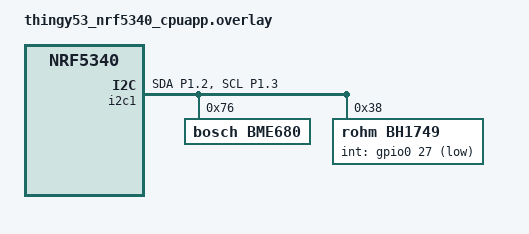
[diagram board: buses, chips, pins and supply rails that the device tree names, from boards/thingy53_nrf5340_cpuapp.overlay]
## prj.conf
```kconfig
#
# Copyright (c) 2020 Nordic Semiconductor ASA
#
# SPDX-License-Identifier: LicenseRef-Nordic-5-Clause
#
CONFIG_NCS_SAMPLES_DEFAULTS=y

# Deffered logging helps improve LPN power consumption
# when friendship is established.
CONFIG_LOG_MODE_DEFERRED=y

# General configuration
CONFIG_SYSTEM_WORKQUEUE_STACK_SIZE=2048
CONFIG_FLASH=y
CONFIG_FLASH_MAP=y
CONFIG_NVS=y
CONFIG_NVS_LOOKUP_CACHE=y
CONFIG_SETTINGS=y
CONFIG_SETTINGS_NVS_NAME_CACHE=y
CONFIG_HWINFO=y
CONFIG_DK_LIBRARY=y
CONFIG_PM_SINGLE_IMAGE=y
CONFIG_PM_PARTITION_SIZE_SETTINGS_STORAGE=0x8000
CONFIG_SOC_FLASH_NRF_PARTIAL_ERASE=y
CONFIG_FPU=y
CONFIG_CBPRINTF_FP_SUPPORT=y

# Temperature sensor
CONFIG_SENSOR=y
CONFIG_TEMP_NRF5=y

# Bluetooth configuration
CONFIG_BT=y
CONFIG_BT_DEVICE_NAME="Mesh Sensor"
CONFIG_BT_L2CAP_TX_BUF_COUNT=8
CONFIG_BT_OBSERVER=y
CONFIG_BT_PERIPHERAL=y
CONFIG_BT_SETTINGS=y

# Disable unused Bluetooth features
CONFIG_BT_CTLR_LE_ENC=n
CONFIG_BT_PHY_UPDATE=n
CONFIG_BT_CTLR_CHAN_SEL_2=n
CONFIG_BT_CTLR_MIN_USED_CHAN=n
CONFIG_BT_CTLR_PRIVACY=n

# Bluetooth Mesh configuration
CONFIG_BT_MESH=y
CONFIG_BT_MESH_RELAY=y
CONFIG_BT_MESH_FRIEND=y
CONFIG_BT_MESH_TX_SEG_MAX=10
CONFIG_BT_MESH_PB_GATT=y
CONFIG_BT_MESH_GATT_PROXY=y
CONFIG_BT_MESH_PROXY_USE_DEVICE_NAME=y
CONFIG_BT_MESH_DK_PROV=y
CONFIG_BT_MESH_NLC_PERF_CONF=y
CONFIG_BT_MESH_MODEL_EXTENSIONS=y
CONFIG_BT_MESH_MODEL_EXTENSION_LIST_SIZE=6
# Enabling BT_MESH_NLC_PERF_CONF enables support for 3 application keys by
# default. Therefore, allow up to 3 application key bindings per model instance.
CONFIG_BT_MESH_MODEL_KEY_COUNT=3

# Bluetooth Mesh models
CONFIG_BT_MESH_SENSOR_SRV=y
CONFIG_BT_MESH_SENSOR_SRV_SENSORS_MAX=5
CONFIG_BT_MESH_SENSOR_USE_LEGACY_SENSOR_VALUE=n

# Debugging
CONFIG_BT_MESH_LOG_LEVEL_DBG=y
CONFIG_BT_MESH_PROVISIONEE_LOG_LEVEL_INF=y
```

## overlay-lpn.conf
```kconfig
CONFIG_BT_MESH_LOW_POWER=y
CONFIG_BT_DEVICE_NAME="Mesh Sensor LPN"
CONFIG_BT_MESH_RELAY=n
CONFIG_BT_MESH_FRIEND=n
CONFIG_BT_EXT_ADV_MAX_ADV_SET=1
CONFIG_BT_MESH_ADV_EXT_FRIEND_SEPARATE=n
CONFIG_BT_MESH_ADV_EXT_GATT_SEPARATE=n

# Power saving configuration:

# Serial communication consumes considerable power
#CONFIG_SERIAL=n
CONFIG_CONSOLE=n
CONFIG_UART_CONSOLE=n
CONFIG_LOG=n

# While enabled, secure beacons will be advertised periodically.
# This consumes power, and is not required for an LPN node.
CONFIG_BT_MESH_BEACON_ENABLED=n

# Each LPN poll event consumes power. Extending the interval between poll events will improve power consumption
CONFIG_BT_MESH_LPN_POLL_TIMEOUT=600

# While GATT proxy is enabled, it will periodically advertise the network id.
# Disabling it will conserve energy.
CONFIG_BT_MESH_GATT_PROXY_ENABLED=n

# Reducing the node id advertisement timeout decreases the period where the device consumes power for advertising.
CONFIG_BT_MESH_NODE_ID_TIMEOUT=30
```

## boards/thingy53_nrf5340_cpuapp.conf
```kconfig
#
# Copyright (c) 2021 Nordic Semiconductor ASA
#
# SPDX-License-Identifier: LicenseRef-Nordic-5-Clause
#
################################################################################
# Application overlay - Thingy:53 DFU

CONFIG_NCS_SAMPLE_MCUMGR_BT_OTA_DFU=y
CONFIG_NCS_SAMPLE_MCUMGR_BT_OTA_DFU_SPEEDUP=y

CONFIG_SYSTEM_WORKQUEUE_STACK_SIZE=4096

# Use deferred logging
CONFIG_NCS_SAMPLES_DEFAULTS=n
CONFIG_LOG=y
CONFIG_ASSERT=y
CONFIG_ASSERT_NO_COND_INFO=y
CONFIG_ASSERT_NO_MSG_INFO=y
CONFIG_HW_STACK_PROTECTION=y

################################################################################
# Sensor configuration

# Enable Temprature Sensor
CONFIG_BME680=y

# Enable Light Sensor
CONFIG_BH1749=y

# Disable nRF5 sensor
CONFIG_TEMP_NRF5=n
```

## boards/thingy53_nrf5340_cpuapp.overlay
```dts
/*
 * Copyright (c) 2021-2022 Nordic Semiconductor ASA
 *
 * SPDX-License-Identifier: LicenseRef-Nordic-5-Clause
 */

i2c1: &i2c1 {
	compatible = "nordic,nrf-twim";
	status = "okay";

	pinctrl-0 = <&i2c1_default_alt_alt>;
	pinctrl-1 = <&i2c1_sleep_alt_alt>;
	pinctrl-names = "default", "sleep";
	bme680: bme680@76 {
		compatible = "bosch,bme680";
		reg = <0x76>;
	};

	
	bh1749: bh1749@38{
		compatible = "rohm,bh1749";
		label = "BH1749";
		reg = <0x38>;
		int-gpios = <&gpio0 27 (GPIO_PULL_UP | GPIO_ACTIVE_LOW)>;
	};
	
};

&pinctrl {
	i2c1_default_alt_alt: i2c1_default_alt_alt {
		group1 {
			psels = <NRF_PSEL(TWIM_SDA, 1, 2)>,
				<NRF_PSEL(TWIM_SCL, 1, 3)>;
		};
	};

	i2c1_sleep_alt_alt: i2c1_sleep_alt_alt {
		group1 {
			psels = <NRF_PSEL(TWIM_SDA, 1, 2)>,
				<NRF_PSEL(TWIM_SCL, 1, 3)>;
			low-power-enable;
		};
	};

};
```

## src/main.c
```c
/*
 * Copyright (c) 2020 Nordic Semiconductor ASA
 *
 * SPDX-License-Identifier: LicenseRef-Nordic-5-Clause
 */

/** @file
 *  @brief Nordic mesh sensor sample
 */
#include <zephyr/bluetooth/bluetooth.h>
#include <bluetooth/mesh/models.h>
#include <bluetooth/mesh/dk_prov.h>
#include <dk_buttons_and_leds.h>
#include "model_handler.h"

static void bt_ready(int err)
{
	if (err) {
		printk("Bluetooth init failed (err %d)\n", err);
		return;
	}

	printk("Bluetooth initialized\n");

	dk_leds_init();
	dk_buttons_init(NULL);

	err = bt_mesh_init(bt_mesh_dk_prov_init(), model_handler_init());
	if (err) {
		printk("Initializing mesh failed (err %d)\n", err);
		return;
	}

	/*if (IS_ENABLED(CONFIG_BT_MESH_LOW_POWER)){
		bt_mesh_lpn_set(true);
	}*/

	if (IS_ENABLED(CONFIG_SETTINGS)) {
		settings_load();
	}

	/* This will be a no-op if settings_load() loaded provisioning info */
	bt_mesh_prov_enable(BT_MESH_PROV_ADV | BT_MESH_PROV_GATT);

	printk("Mesh initialized\n");
}

int main(void)
{
	int err;

	printk("Initializing...\n");

	err = bt_enable(bt_ready);
	if (err) {
		printk("Bluetooth init failed (err %d)\n", err);
	}

	return 0;
}
```
